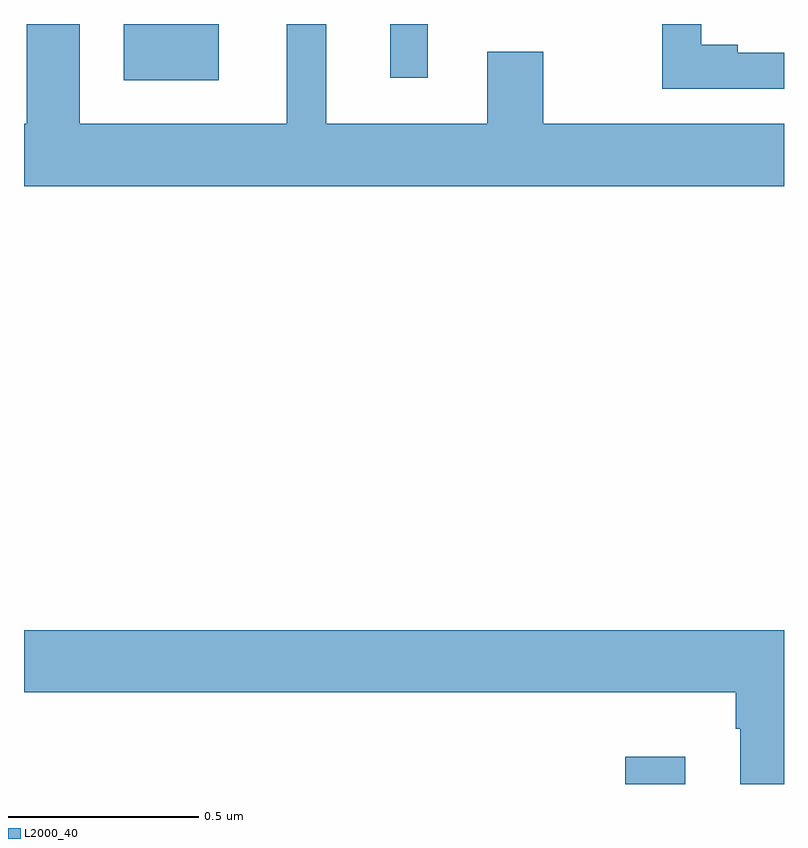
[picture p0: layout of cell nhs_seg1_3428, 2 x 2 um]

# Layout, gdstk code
import gdstk
lib = gdstk.Library(unit=1e-6, precision=1e-09)
def R(c, l, rs):  # rectangles x0, y0, x1, y1
    for r in rs: c.add(gdstk.rectangle(r[:2], r[2:], *l))
def P(c, l, *ps):  # polygons
    for p in ps: c.add(gdstk.Polygon(p, *l))
L2000_40 = (2000, 40)

nhs_seg1_3428 = lib.new_cell('nhs_seg1_3428')
R(nhs_seg1_3428, L2000_40, [(155.582,510.199,155.74,510.271), (154.262,512.051,154.513,512.199), (154.964,512.058,155.062,512.199)])
P(nhs_seg1_3428, L2000_40, [(156,511.936),(155.367,511.936),(155.367,512.126),(155.219,512.126),(155.219,511.936),(154.795,511.936),(154.795,512.199),(154.691,512.199),(154.691,511.936),(154.147,511.936),(154.147,512.199),(154.007,512.199),(154.007,511.936),(154,511.936),(154,511.772),(156,511.772)],
  [(156,512.124),(155.878,512.124),(155.878,512.144),(155.782,512.144),(155.782,512.199),(155.68,512.199),(155.68,512.028),(156,512.028)],
  [(156,510.604),(154,510.604),(154,510.44),(155.873,510.44),(155.873,510.344),(155.885,510.344),(155.885,510.199),(156,510.199)])

lib.write_gds('nhs_seg1_3428.gds')
